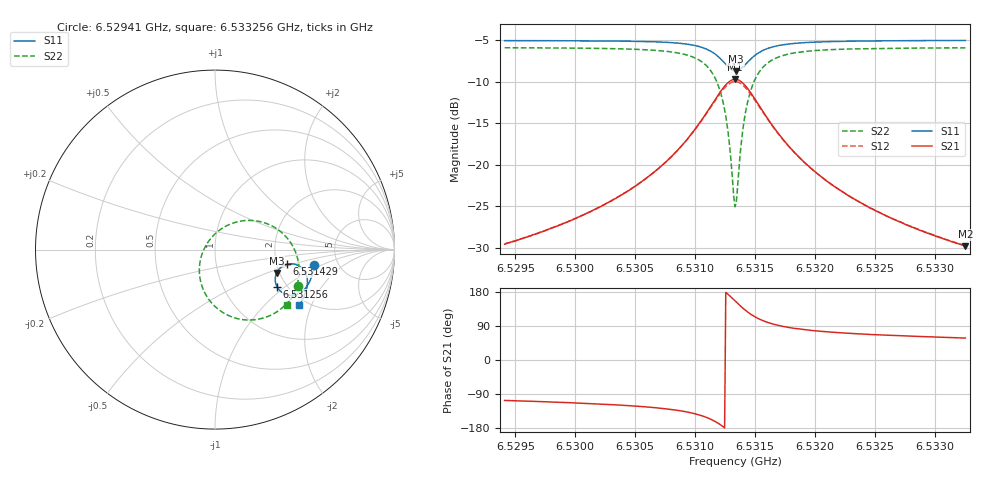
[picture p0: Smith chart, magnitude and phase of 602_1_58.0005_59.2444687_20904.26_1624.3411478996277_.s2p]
#  HZ  S  RI  R  50.00
! Rohde & Schwarz Vector Network Analyzer
! Rohde-Schwarz,ZNB20-2Port,1311601062101988,3.16
! Created: UTC 3/21/2024, 1:17:16 AM
! freq[Hz]  re:S11  im:S11  re:S21  im:S21  re:S12  im:S12  re:S22  im:S22
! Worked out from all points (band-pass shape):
!   401 points, 6.52941 GHz to 6.533256 GHz, reference 50 ohm
!   highest |S21| = -9.70 dB at 6.531333 GHz (marker M1); lowest = -29.8 dB at 6.533256 GHz (marker M2)
!   |S21| within 3 dB of the highest: 6.531142 GHz to 6.531527 GHz (384.6 kHz wide, 0.00589 % of centre)
!   lowest |S11| = -8.7 dB at 6.531343 GHz (marker M3), VSWR 2.16, Z = 96.5 - j29.1 ohm
!   |S11| at or under -10 dB: nowhere
!   |S22| runs from -25.1 to -5.9 dB; largest |S21 - S12| = 0.013
!   S11 on the Smith chart (normalised r, x): 6.52941 GHz: 3.31, -0.85; 6.531256 GHz: 1.78, -0.88; 6.531429 GHz: 2.28, -0.45; 6.533256 GHz: 1.83, -1.64
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6.52941e9  0.5537 -0.0877  -0.00951 -0.0318  -0.0101 -0.0316  0.4651 -0.204
6.5300542e9  0.5411 -0.1417  -0.0202 -0.0449  -0.0212 -0.0446  0.4304 -0.2637
6.5304388e9  0.527 -0.1785  -0.035 -0.0599  -0.0366 -0.0591  0.3912 -0.3095
6.5306984e9  0.5098 -0.2075  -0.0572 -0.0762  -0.0595 -0.0747  0.3415 -0.3489
6.5309292e9  0.4788 -0.2376  -0.1031 -0.096  -0.1059 -0.0923  0.2495 -0.3863
6.5310926e9  0.4299 -0.254  -0.179 -0.0984  -0.1809 -0.0906  0.1116 -0.3809
6.5311888e9  0.381 -0.243  -0.2538 -0.0622  -0.2514 -0.0515  -0.0108 -0.306
6.5312561e9  0.3462 -0.2079  -0.3032 0.00855  -0.2952 0.0185  -0.0799 -0.1787
6.5312849e9  0.3374 -0.1842  -0.3128 0.0523  -0.3023 0.0606  -0.0872 -0.1048
6.5313234e9  0.3375 -0.1481  -0.3055 0.1167  -0.2931 0.1207  -0.0633 -0.00139
6.531333e9  0.3399 -0.1391  -0.2996 0.1323  -0.2874 0.1352  -0.0508 0.023
6.5313426e9  0.3432 -0.1303  -0.2923 0.1474  -0.28 0.1491  -0.0361 0.046
6.5313522e9  0.3474 -0.1221  -0.2836 0.1615  -0.2716 0.1621  -0.0193 0.0673
6.5313907e9  0.3716 -0.0955  -0.2376 0.2061  -0.2276 0.2035  0.0634 0.1321
6.5314291e9  0.4009 -0.0817  -0.1847 0.2289  -0.1775 0.2249  0.1546 0.1605
6.5314964e9  0.4475 -0.0823  -0.104 0.2282  -0.1006 0.2245  0.2888 0.1447
6.5315926e9  0.4873 -0.1066  -0.0359 0.1924  -0.0345 0.1905  0.398 0.0693
6.5317368e9  0.5097 -0.1444  0.00395 0.1412  0.00505 0.1404  0.4557 -0.0336
6.5319772e9  0.5147 -0.189  0.0198 0.0916  0.021 0.0913  0.4678 -0.1357
6.5322945e9  0.5075 -0.228  0.0218 0.0603  0.0226 0.06  0.4541 -0.2075
6.5326214e9  0.4962 -0.2587  0.0203 0.0436  0.021 0.0435  0.4359 -0.2528
6.533256e9  0.4707 -0.3071  0.017 0.0273  0.0177 0.0271  0.4008 -0.3108
